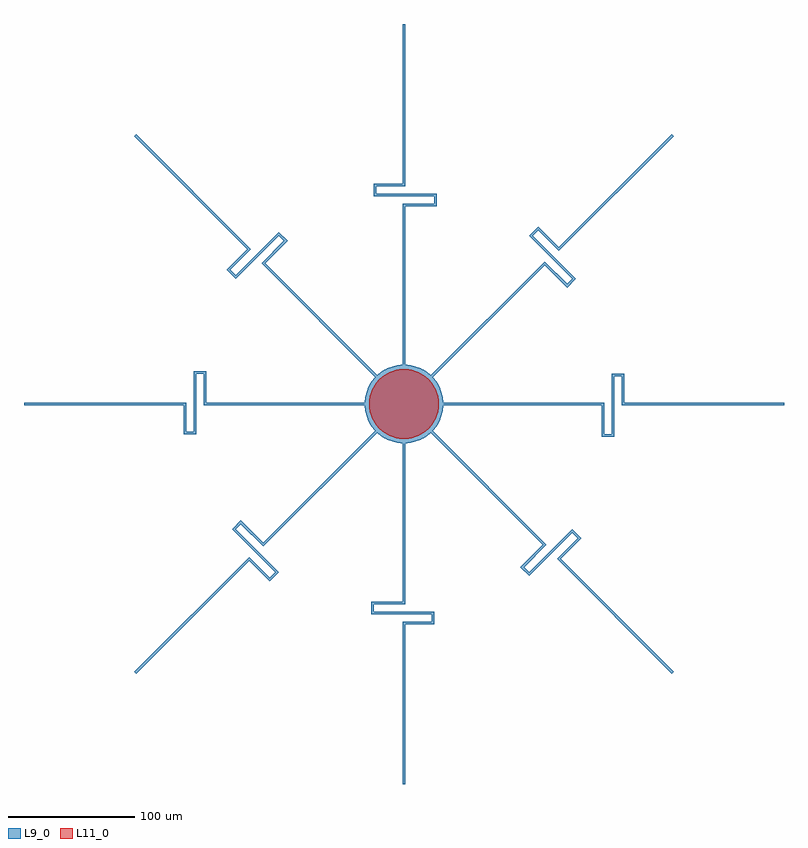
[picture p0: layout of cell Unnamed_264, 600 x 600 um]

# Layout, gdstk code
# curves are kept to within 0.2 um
from math import pi, radians
import gdstk
lib = gdstk.Library(unit=1e-6, precision=1e-09)
def P(c, l, *ps):  # polygons
    for p in ps: c.add(gdstk.Polygon(p, *l))
L9_0 = (9, 0)
L11_0 = (11, 0)

circle_r27p5_ar2p5_l11_0 = lib.new_cell('circle_R27p5_AR2p5_L11_0')
P(circle_r27p5_ar2p5_l11_0, L11_0, [(0,-27.5),(-5.952,-26.848),(-10.524,-25.407),(-15.773,-22.527),(-19.445,-19.445),(-22.527,-15.773),(-25.407,-10.524),(-26.848,-5.952),(-27.5,0),(-26.848,5.952),(-25.407,10.524),(-22.527,15.773),(-19.445,19.445),(-15.773,22.527),(-10.524,25.407),(-5.952,26.848),(0,27.5),(5.952,26.848),(10.524,25.407),(15.773,22.527),(19.445,19.445),(22.527,15.773),(25.407,10.524),(26.848,5.952),(27.5,0),(26.848,-5.952),(25.407,-10.524),(22.527,-15.773),(19.445,-19.445),(15.773,-22.527),(10.524,-25.407),(5.952,-26.848)])

unnamed_265 = lib.new_cell('Unnamed_265')
P(unnamed_265, L9_0, [(-1,30),(-1,158),(24,158),(24,164),(-24,164),(-24,174),(-1,174),(-1,300),(1,300),(1,172),(-22,172),(-22,166),(26,166),(26,156),(1,156),(1,30)])

circle_r31_ar2p5_l9_0 = lib.new_cell('circle_R31_AR2p5_L9_0')
P(circle_r31_ar2p5_l9_0, L9_0, [(0,-31),(-5.383,-30.529),(-11.863,-28.64),(-17.781,-25.394),(-21.92,-21.92),(-25.394,-17.781),(-28.64,-11.863),(-30.529,-5.383),(-31,0),(-30.529,5.383),(-28.64,11.863),(-25.394,17.781),(-21.92,21.92),(-17.781,25.394),(-11.863,28.64),(-5.383,30.529),(0,31),(5.383,30.529),(11.863,28.64),(17.781,25.394),(21.92,21.92),(25.394,17.781),(28.64,11.863),(30.529,5.383),(31,0),(30.529,-5.383),(28.64,-11.863),(25.394,-17.781),(21.92,-21.92),(17.781,-25.394),(11.863,-28.64),(5.383,-30.529)])

unnamed_264 = lib.new_cell('Unnamed_264')
unnamed_264.add(gdstk.Reference(circle_r27p5_ar2p5_l11_0, (0,0)))
unnamed_264.add(gdstk.Reference(unnamed_265, (0,0), rotation=radians(315)))
unnamed_264.add(gdstk.Reference(unnamed_265, (0,0), rotation=3*pi/2))
unnamed_264.add(gdstk.Reference(unnamed_265, (0,0), rotation=radians(225)))
unnamed_264.add(gdstk.Reference(unnamed_265, (0,0), rotation=radians(45)))
unnamed_264.add(gdstk.Reference(unnamed_265, (0,0), rotation=pi/2))
unnamed_264.add(gdstk.Reference(unnamed_265, (0,0), rotation=pi))
unnamed_264.add(gdstk.Reference(circle_r31_ar2p5_l9_0, (0,0)))
unnamed_264.add(gdstk.Reference(unnamed_265, (0,0), rotation=radians(135)))
unnamed_264.add(gdstk.Reference(unnamed_265, (0,0)))

lib.write_gds('Unnamed_264.gds')
